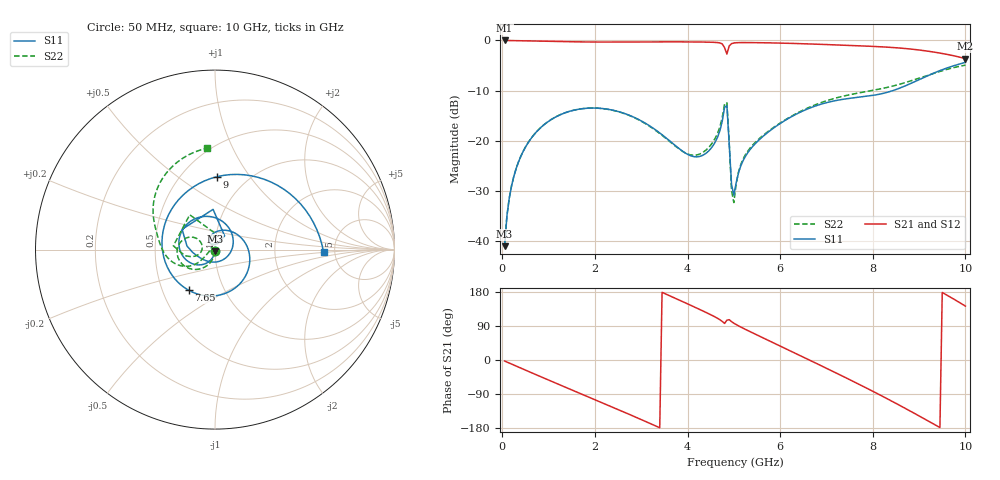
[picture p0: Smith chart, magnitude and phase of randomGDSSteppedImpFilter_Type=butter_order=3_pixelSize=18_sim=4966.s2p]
! freq	dB(S11)	phase(S11)	dB(S12)	phase(S12)
!  dB(S21)	phase(S21)	dB(S22)	phase(S22)
!S-par simulation data
#  GHz  S  DB  R 50
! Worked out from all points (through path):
!   200 points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, 50 MHz to 10 GHz, reference 50 ohm
!   highest |S21| = -0.01 dB at 50 MHz (marker M1); lowest = -3.7 dB at 10 GHz (marker M2)
!   group delay of S21, straight-line fit = 158 ps
!   lowest |S11| = -41.0 dB at 50 MHz (marker M3), VSWR 1.02, Z = 49.9 - j0.888 ohm
!   |S11| at or under -10 dB: start of sweep to 8.434 GHz
!   |S22| runs from -41.0 to -4.9 dB; largest |S21 - S12| = 0
!   S11 on the Smith chart (normalised r, x): 50 MHz: 1.00, -0.02; 7.65 GHz: 0.68, -0.33; 9 GHz: 0.73, +0.71; 10 GHz: 4.05, -0.16
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0.05  -41.01 -92.8  -0.01 -2.7  -0.01 -2.7  -40.97 -91.9
0.2  -28.99 -102.5  -0.02 -10.7  -0.02 -10.7  -28.97 -99.1
0.5  -21.27 -121.2  -0.06 -26.7  -0.06 -26.7  -21.25 -112.9
1.15  -15.27 -161.5  -0.20 -60.8  -0.20 -60.8  -15.26 -141.4
1.75  -13.58 160.7  -0.30 -91.8  -0.30 -91.8  -13.58 -165.9
2.5  -14.16 109.9  -0.32 -130.7  -0.32 -130.7  -14.19 167.2
3.4  -18.44 33.5  -0.28 -178.8  -0.28 -178.8  -18.56 148.8
4.3  -23.02 -99.8  -0.32 131.3  -0.32 131.3  -22.49 -175.0
4.7  -17.95 -173.6  -0.51 106.2  -0.51 106.2  -17.19 -163.4
4.8  -13.34 148.4  -1.45 96.6  -1.45 96.6  -12.66 174.8
4.85  -12.98 92.7  -2.72 105.0  -2.72 105.0  -12.41 126.0
4.95  -28.73 65.6  -0.64 101.3  -0.64 101.3  -29.93 110.3
5  -30.86 107.7  -0.51 97.1  -0.51 97.1  -32.32 176.0
5.05  -28.41 125.3  -0.46 93.5  -0.46 93.5  -28.61 -158.5
5.3  -22.39 110.6  -0.43 77.8  -0.43 77.8  -22.07 -143.9
5.95  -16.87 40.5  -0.52 39.8  -0.52 39.8  -16.77 -144.2
6.7  -13.27 -32.0  -0.72 -4.1  -0.72 -4.1  -13.04 -157.4
7.65  -11.38 -122.9  -1.05 -60.9  -1.05 -60.9  -10.55 178.6
8.35  -10.24 160.0  -1.36 -104.7  -1.36 -104.7  -9.28 162.5
9  -7.82 88.3  -1.91 -147.6  -1.91 -147.6  -7.52 144.9
9.5  -5.84 41.0  -2.61 178.2  -2.61 178.2  -6.04 124.4
10  -4.37 -1.2  -3.65 142.2  -3.65 142.2  -4.93 94.6
